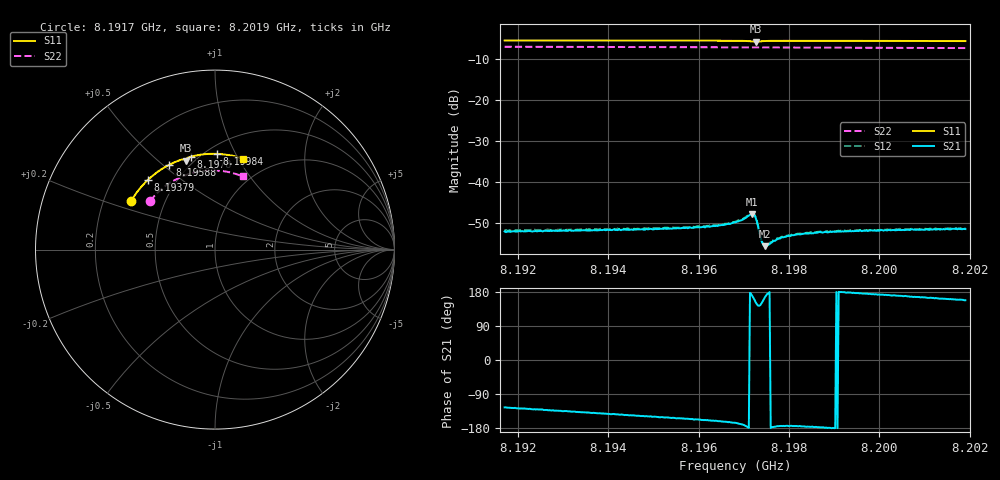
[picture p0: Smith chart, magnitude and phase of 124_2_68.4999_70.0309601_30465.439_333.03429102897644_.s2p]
#  HZ  S  RI  R  50.00
! Rohde & Schwarz Vector Network Analyzer
! Rohde-Schwarz,ZNB20-2Port,1311601062101988,3.16
! Created: UTC 3/20/2024, 4:54:06 PM
! freq[Hz]  re:S11  im:S11  re:S21  im:S21  re:S12  im:S12  re:S22  im:S22
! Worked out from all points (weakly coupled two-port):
!   401 points, 8.1917 GHz to 8.2019 GHz, reference 50 ohm
!   highest |S21| = -47.86 dB at 8.19718 GHz (marker M1); lowest = -55.8 dB at 8.19747 GHz (marker M2)
!   lowest |S11| = -5.7 dB at 8.19726 GHz (marker M3), VSWR 3.18, Z = 22.8 + j31.1 ohm
!   |S11| at or under -10 dB: nowhere
!   |S22| runs from -7.2 to -6.9 dB; largest |S21 - S12| = 0.00021
!   S11 on the Smith chart (normalised r, x): 8.1917 GHz: 0.32, +0.25; 8.19379 GHz: 0.35, +0.38; 8.19588 GHz: 0.40, +0.53; 8.1978 GHz: 0.46, +0.67; 8.19984 GHz: 0.57, +0.85; 8.2019 GHz: 0.74, +1.05
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8.1917e9  -0.466 0.2732  -0.00142 -0.00202  -0.0015 -0.00203  -0.3621 0.2714
8.193409e9  -0.3933 0.3687  -0.00188 -0.00171  -0.00199 -0.00168  -0.2958 0.3394
8.193792e9  -0.3742 0.3877  -0.00197 -0.00163  -0.00209 -0.00156  -0.2792 0.3526
8.195118e9  -0.301 0.4459  -0.0023 -0.0013  -0.00239 -0.00125  -0.2165 0.3919
8.195884e9  -0.2542 0.4733  -0.00251 -0.00107  -0.00261 -0.00104  -0.1775 0.4097
8.196394e9  -0.2209 0.489  -0.00272 -0.000964  -0.00283 -0.000847  -0.1508 0.4195
8.196802e9  -0.1924 0.4996  -0.00309 -0.000776  -0.00316 -0.000645  -0.1287 0.426
8.196981e9  -0.1786 0.503  -0.0034 -0.000556  -0.00349 -0.000414  -0.1189 0.4284
8.197185e9  -0.1616 0.5002  -0.00397 0.000754  -0.00402 0.00091  -0.1078 0.4308
8.197236e9  -0.1603 0.497  -0.00361 0.00143  -0.00358 0.00162  -0.1051 0.4314
8.197261e9  -0.1611 0.496  -0.00317 0.00169  -0.00318 0.00187  -0.1036 0.4316
8.197389e9  -0.1624 0.5029  -0.00164 0.000955  -0.00161 0.00105  -0.0969 0.4331
8.19744e9  -0.1594 0.5066  -0.00156 0.000555  -0.00155 0.000635  -0.094 0.4338
8.197465e9  -0.1576 0.5079  -0.00157 0.000398  -0.00161 0.000483  -0.0926 0.4341
8.197516e9  -0.1537 0.5105  -0.00164 0.00016  -0.00169 0.000234  -0.0898 0.4347
8.197695e9  -0.1401 0.5161  -0.00189 -0.000128  -0.00196 -0.000101  -0.0797 0.4363
8.197797e9  -0.1327 0.5183  -0.002 -0.000201  -0.00204 -0.000143  -0.0741 0.4372
8.198154e9  -0.1068 0.5244  -0.00225 -0.000228  -0.00224 -0.000162  -0.054 0.4394
8.198511e9  -0.0814 0.5286  -0.00234 -0.000175  -0.00241 -2.61e-05  -0.0339 0.4408
8.199838e9  0.0126 0.5333  -0.00251 0.000277  -0.00253 0.00041  0.0411 0.4377
8.200221e9  0.0398 0.5316  -0.00253 0.000392  -0.00254 0.000503  0.0626 0.4345
8.201904e9  0.1562 0.5074  -0.00243 0.000997  -0.00245 0.00112  0.1544 0.4075
